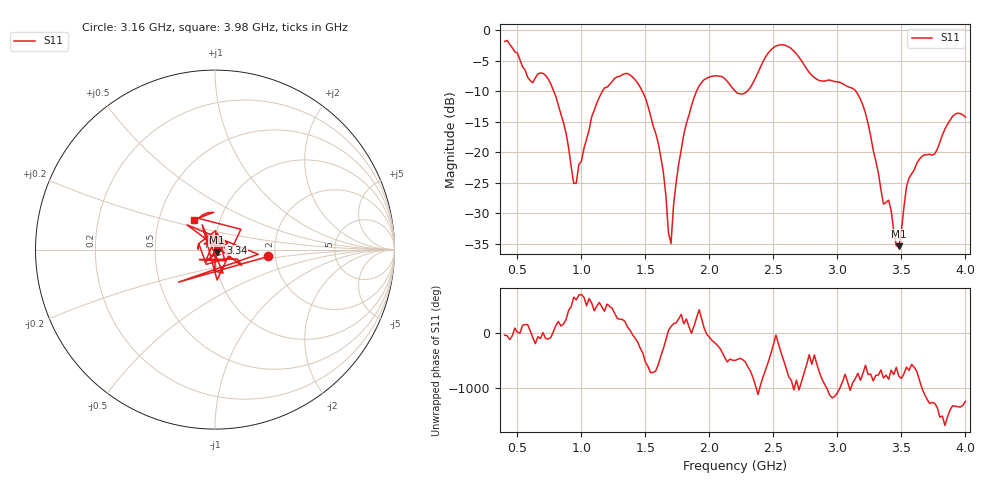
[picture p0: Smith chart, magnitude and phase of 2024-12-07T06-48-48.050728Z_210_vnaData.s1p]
!Created with skrf (http://scikit-rf.org).
# Hz S RI R 50.0
!freq ReS11 ImS11
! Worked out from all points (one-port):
!   181 points, 400 MHz to 4 GHz, reference 50 ohm
!   lowest |S11| = -35.4 dB at 3.48 GHz (marker M1), VSWR 1.03, Z = 50.8 - j1.5 ohm
!   |S11| at or under -10 dB: 784.3 MHz to 1.164 GHz (379.6 MHz wide, 39 % of centre); 1.476 GHz to 1.899 GHz (423.1 MHz wide, 25.1 % of centre); 3.145 GHz to end of sweep (the widest 3 of 4)
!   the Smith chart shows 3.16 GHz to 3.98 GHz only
!   S11 on the Smith chart (normalised r, x): 3.16 GHz: 1.84, -0.15; 3.34 GHz: 1.06, +0.08; 3.98 GHz: 0.75, +0.26
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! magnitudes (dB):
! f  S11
! 400 MHz  -1.8
! 600 MHz  -8.2
! 740 MHz  -7.9
! 860 MHz  -15.1
! 940 MHz  -25.1
! 960 MHz  -25.0
! 1.12 GHz  -11.9
! 1.3 GHz  -7.5
! 1.5 GHz  -11.0
! 1.62 GHz  -20.8
! 1.7 GHz  -35.0
! 1.76 GHz  -21.9
! 1.82 GHz  -15.3
! 1.94 GHz  -8.5
! 2.2 GHz  -9.9
! 2.3 GHz  -9.9
! 2.5 GHz  -2.8
! 2.66 GHz  -3.4
! 2.84 GHz  -8.0
! 3.1 GHz  -9.4
! 3.16 GHz  -10.5
! 3.24 GHz  -15.3
! 3.34 GHz  -26.1
! 3.4 GHz  -27.9
! 3.48 GHz  -35.4
! 3.56 GHz  -24.2
! 3.98 GHz  -13.8
! 4 GHz  -14.2
